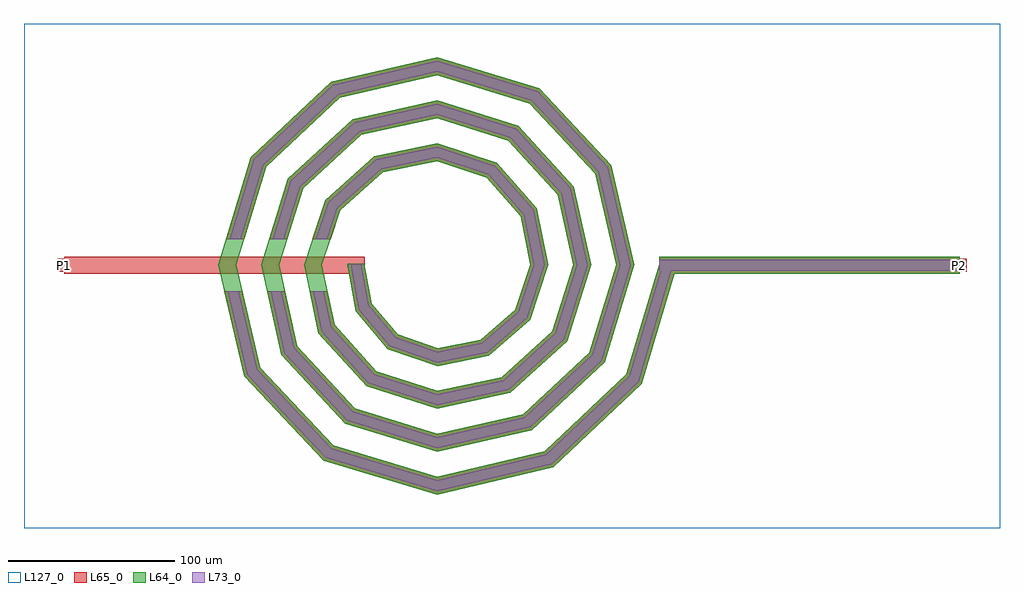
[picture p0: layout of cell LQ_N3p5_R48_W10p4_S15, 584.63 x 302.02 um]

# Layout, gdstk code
import gdstk
lib = gdstk.Library(unit=1e-6, precision=1e-09)
def R(c, l, rs):  # rectangles x0, y0, x1, y1
    for r in rs: c.add(gdstk.rectangle(r[:2], r[2:], *l))
def P(c, l, *ps):  # polygons
    for p in ps: c.add(gdstk.Polygon(p, *l))
L64_0 = (64, 0)
L65_0 = (65, 0)
L73_0 = (73, 0)
L127_0 = (127, 0)

lq_n3p5_r48_w10p4_s15 = lib.new_cell('LQ_N3p5_R48_W10p4_S15')
R(lq_n3p5_r48_w10p4_s15, L64_0, [(133.274,-5.2,313.274,5.2)])
P(lq_n3p5_r48_w10p4_s15, L64_0, [(-39.04,-23.028),(-23.38,-41.308),(0.39,-49.604),(26.197,-44.623),(46.846,-26.628),(56.024,0.35),(50.203,29.375),(29.869,52.389),(0.317,62.445),(-32.559,55.78),(-57.936,33.105),(-68.867,0.289),(-61.354,-35.748),(-36.337,-63.485),(0.266,-75.289),(38.94,-66.926),(69.037,-39.566),(81.711,0.247),(72.498,42.135),(42.793,74.59),(0.23,88.134),(-45.332,78.068),(-80.144,46.017),(-94.556,0.215),(-83.637,-48.531),(-49.24,-85.699),(0.202,-100.979),(51.731,-89.205),(91.255,-52.462),(107.401,0.191),(94.773,54.933),(55.683,96.812),(0.18,113.824),(-58.136,100.34),(-102.37,58.902),(-120.247,0.171),(-105.907,-61.34),(-62.121,-107.928),(0.163,-126.67),(64.544,-111.473),(113.486,-65.339),(133.492,1.491),(143.456,-1.491),(122.649,-70.994),(69.648,-120.954),(0.163,-137.432),(-67.789,-117.083),(-115.396,-66.429),(-131.009,0.171),(-111.516,64.585),(-63.21,109.837),(0.18,124.586),(61.381,105.948),(104.28,59.99),(118.163,0.191),(100.38,-58.179),(56.769,-98.722),(0.202,-111.739),(-54.978,-94.812),(-93.166,-53.546),(-105.316,0.215),(-89.242,51.778),(-50.322,87.61),(0.23,98.892),(48.579,83.671),(82.055,47.096),(92.468,0.247),(78.099,-45.383),(43.868,-76.501),(0.266,-86.045),(-42.189,-72.526),(-70.949,-40.637),(-79.621,0.289),(-66.95,38.998),(-37.403,65.398),(0.317,73.196),(35.811,61.372),(59.85,34.164),(66.772,0.35),(55.79,-32.629),(30.918,-54.304),(0.39,-60.346),(-29.454,-50.203),(-48.763,-27.664),(-53.667,0.938),(-43.437,0.938)])
R(lq_n3p5_r48_w10p4_s15, L65_0, [(-223.352,-5.2,-43.352,5.2), (133.274,-5.2,313.274,5.2), (-227.352,-4,-219.352,4), (309.274,-4,317.274,4)])
P(lq_n3p5_r48_w10p4_s15, L65_0, [(-105.907,-61.34),(-62.121,-107.928),(0.163,-126.67),(64.544,-111.473),(113.486,-65.339),(133.492,1.491),(143.456,-1.491),(122.65,-70.994),(69.648,-120.954),(0.163,-137.432),(-67.789,-117.083),(-115.396,-66.429),(-127.312,-15.6),(-116.63,-15.6)],
  [(-83.637,-48.531),(-49.24,-85.699),(0.202,-100.979),(51.731,-89.205),(91.255,-52.462),(107.401,0.191),(94.773,54.933),(55.683,96.812),(0.18,113.824),(-58.136,100.34),(-102.37,58.902),(-115.474,15.6),(-126.34,15.6),(-111.516,64.585),(-63.21,109.837),(0.18,124.586),(61.381,105.948),(104.28,59.99),(118.163,0.191),(100.38,-58.179),(56.769,-98.722),(0.202,-111.739),(-54.978,-94.812),(-93.166,-53.546),(-101.742,-15.6),(-91.079,-15.6)],
  [(-61.354,-35.748),(-36.337,-63.485),(0.266,-75.289),(38.94,-66.927),(69.037,-39.566),(81.711,0.247),(72.498,42.135),(42.793,74.59),(0.23,88.134),(-45.332,78.068),(-80.144,46.017),(-89.626,15.6),(-100.52,15.6),(-89.242,51.778),(-50.322,87.61),(0.23,98.892),(48.579,83.671),(82.055,47.096),(92.469,0.247),(78.099,-45.383),(43.868,-76.501),(0.266,-86.045),(-42.189,-72.526),(-70.949,-40.637),(-76.254,-15.6),(-65.623,-15.6)],
  [(-23.38,-41.308),(0.391,-49.604),(26.197,-44.623),(46.846,-26.628),(56.024,0.35),(50.203,29.375),(29.869,52.389),(0.317,62.446),(-32.559,55.78),(-57.936,33.105),(-63.666,15.6),(-74.609,15.6),(-66.95,38.998),(-37.403,65.398),(0.317,73.196),(35.811,61.372),(59.85,34.164),(66.772,0.35),(55.79,-32.629),(30.919,-54.304),(0.391,-60.346),(-29.454,-50.203),(-48.763,-27.664),(-53.667,0.938),(-43.437,0.938),(-39.04,-23.029)])
R(lq_n3p5_r48_w10p4_s15, L73_0, [(133.274,-3.2,313.274,3.2)])
P(lq_n3p5_r48_w10p4_s15, L73_0, [(-107.732,-62.318),(-63.211,-109.688),(0.1,-128.739),(65.526,-113.296),(115.248,-66.427),(135.408,0.918),(141.54,0.918),(120.887,-69.906),(68.666,-119.131),(0.1,-135.363),(-66.699,-115.322),(-113.571,-65.451),(-125.258,-15.6),(-118.684,-15.6)],
  [(-85.469,-49.495),(-50.344,-87.452),(0.124,-103.048),(52.7,-91.035),(93.01,-53.561),(109.471,0.117),(96.601,55.906),(56.779,98.569),(0.111,115.894),(-59.112,102.167),(-104.129,59.995),(-117.564,15.6),(-124.25,15.6),(-109.757,63.492),(-62.234,108.011),(0.111,122.516),(60.286,104.192),(102.451,59.017),(116.093,0.117),(98.626,-57.08),(55.8,-96.892),(0.124,-109.67),(-53.874,-93.059),(-91.333,-52.582),(-99.691,-15.6),(-93.13,-15.6)],
  [(-63.199,-36.688),(-37.463,-65.224),(0.164,-77.358),(39.888,-68.768),(70.779,-40.685),(83.78,0.152),(74.336,43.089),(43.906,76.336),(0.141,90.203),(-46.292,79.903),(-81.894,47.125),(-91.721,15.6),(-98.425,15.6),(-87.492,50.67),(-49.362,85.775),(0.141,96.823),(47.466,81.925),(80.217,46.142),(90.4,0.152),(76.356,-44.264),(42.92,-74.66),(0.164,-83.976),(-41.063,-70.787),(-69.104,-39.697),(-74.21,-15.6),(-67.667,-15.6)],
  [(-24.548,-43.018),(0.24,-51.67),(27.105,-46.485),(48.566,-27.782),(58.091,0.215),(52.058,30.296),(31.012,54.117),(0.195,64.513),(-33.491,57.629),(-59.669,34.238),(-65.77,15.6),(-72.505,15.6),(-65.217,37.865),(-36.471,63.548),(0.195,71.129),(34.668,59.644),(57.995,33.243),(64.705,0.215),(54.07,-31.475),(30.011,-52.443),(0.24,-58.28),(-28.286,-48.493),(-46.893,-26.773),(-51.699,0.578),(-45.404,0.578),(-40.91,-23.92)])
R(lq_n3p5_r48_w10p4_s15, L127_0, [(-247.352,-157.432,337.274,144.586)])
lq_n3p5_r48_w10p4_s15.add(gdstk.Label('P2', (313.274,0), layer=65, texttype=0))
lq_n3p5_r48_w10p4_s15.add(gdstk.Label('P1', (-223.352,0), layer=65, texttype=0))
lq_n3p5_r48_w10p4_s15.add(gdstk.Label('P2', (317.274,0), layer=145, texttype=0))
lq_n3p5_r48_w10p4_s15.add(gdstk.Label('P1', (-227.352,0), layer=145, texttype=0))

lib.write_gds('LQ_N3p5_R48_W10p4_S15.gds')
